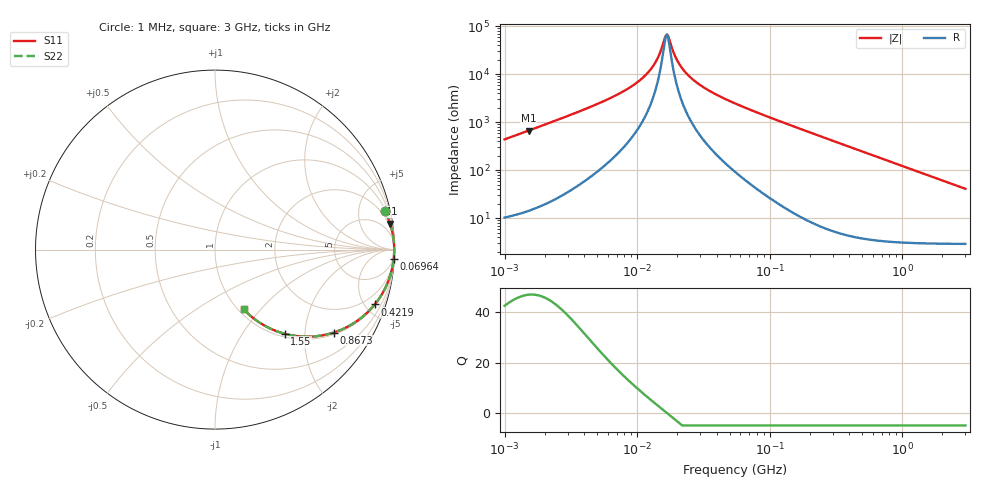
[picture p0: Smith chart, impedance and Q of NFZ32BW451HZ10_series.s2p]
! NFZ32BW451HZ10
# Hz S RI R 50
!Freq.(Hz) S11(Real) S11(Imag) S21(Real) S21(Imag) S12(Real) S12(Imag) S22(Real) S22(Imag)
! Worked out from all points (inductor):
!   401 points, 1 MHz to 3 GHz, reference 50 ohm
!   read as one part in series: L = 69.4 uH near 1.041 MHz
!   highest Q = 47.1 at 1.522 MHz (marker M1), where L = 69.9 uH
!   self-resonance near 16.48 MHz
!   S11 on the Smith chart (normalised r, x): 1 MHz: 1.21, +8.76; 69.64 MHz: 2, -37; 421.9 MHz: 1.08, -5.80; 867.3 MHz: 1.06, -2.82; 1.55 GHz: 1.06, -1.58; 3 GHz: 1.06, -0.82
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1000000  0.9459 0.2147  0.0541 -0.2147  0.0541 -0.2147  0.9459 0.2147
1522470  0.9752 0.1452  0.0248 -0.1452  0.0248 -0.1452  0.9752 0.1452
3823119  0.9951 0.0565  0.00495 -0.0565  0.00495 -0.0565  0.9951 0.0565
6696013  0.9976 0.0287  0.00238 -0.0287  0.00238 -0.0287  0.9976 0.0287
9600343  0.9982 0.016  0.00176 -0.016  0.00176 -0.016  0.9982 0.016
1.245355e7  0.9984 0.00823  0.00156 -0.00823  0.00156 -0.00823  0.9984 0.00823
1.461624e7  0.9985 0.00375  0.0015 -0.00375  0.0015 -0.00375  0.9985 0.00375
1.615473e7  0.9985 0.001  0.00148 -0.001  0.00148 -0.001  0.9985 0.001
1.681455e7  0.9985 -9.46e-05  0.00148 9.46e-05  0.00148 9.46e-05  0.9985 -9.46e-05
1.750132e7  0.9985 -0.00119  0.00148 0.00119  0.00148 0.00119  0.9985 -0.00119
1.896016e7  0.9985 -0.00339  0.00149 0.00339  0.00149 0.00339  0.9985 -0.00339
2.013356e7  0.9985 -0.00505  0.0015 0.00505  0.0015 0.00505  0.9985 -0.00505
2.459509e7  0.9984 -0.0107  0.00159 0.0107  0.00159 0.0107  0.9984 -0.0107
3.387922e7  0.9981 -0.0209  0.00192 0.0209  0.00192 0.0209  0.9981 -0.0209
5.477226e7  0.9968 -0.0404  0.00316 0.0404  0.00316 0.0404  0.9968 -0.0404
6.964249e7  0.9956 -0.0533  0.00441 0.0533  0.00441 0.0533  0.9956 -0.0533
2.094008e8  0.9697 -0.1646  0.0303 0.1646  0.0303 0.1646  0.9697 -0.1646
4.219165e8  0.8905 -0.3053  0.1095 0.3053  0.1095 0.3053  0.8905 -0.3053
8.005644e8  0.6964 -0.4494  0.3036 0.4494  0.3036 0.4494  0.6964 -0.4494
8.672962e8  0.6621 -0.4619  0.3379 0.4619  0.3379 0.4619  0.6621 -0.4619
1.54974e9  0.3881 -0.4689  0.6119 0.4689  0.6119 0.4689  0.3881 -0.4689
3e9  0.1599 -0.3327  0.8401 0.3327  0.8401 0.3327  0.1599 -0.3327
